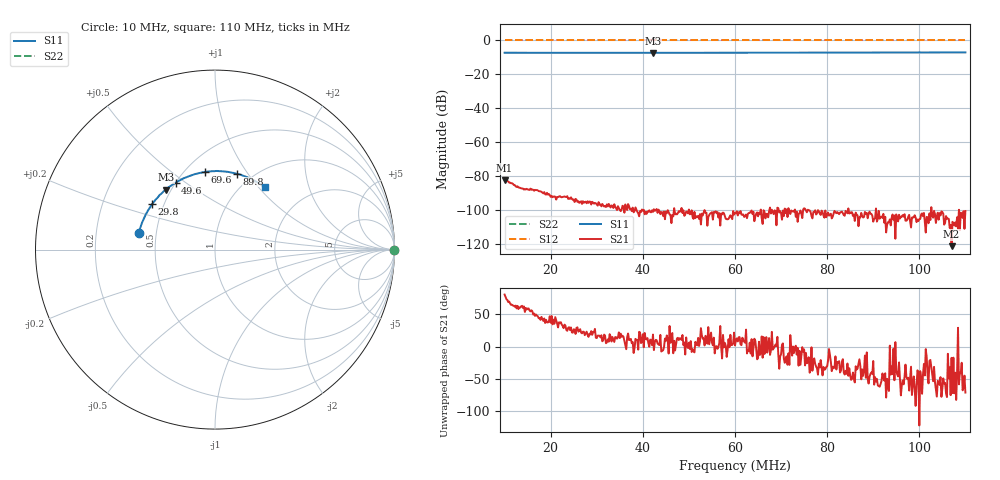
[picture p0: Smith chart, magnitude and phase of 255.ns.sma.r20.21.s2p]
! Anritsu VNA Master:  Model: MS2036C/10/77
! SN:  1601066
! /card0/usr/255.ns.sma.r20.21.s2p
! Existing Calibration Information:
! TYPE:  Current Settings,  Active Cal Settings
! TIME:  12/19/2017 07:11:33 PM,  12/19/2017 06:59:48 PM
! INTERNAL TEMP:  39.8 C,  39.3 C
! # POINTS:  501,  501
! START FREQ:  10.000 MHz,  10.000 MHz
! STOP FREQ:  110.000 MHz,  110.000 MHz
! SOURCE POWER:  High,  High
! IFBW:  100 Hz,  100 Hz
! AVG FACTOR:  1 ,  1
! REF PLANE 1:  0 mm,  0 mm
! REF PLANE 2:  0 mm,  0 mm
! CAL TYPE:  Full S11,  Full S11
! CAL METHOD:  SOLT,  SOLT
! CAL LINE TYPE:  Coax,  Coax
! DUT PORT 1:  N-Conn(F),  N-Conn(F)
! DUT PORT 2:  K-Conn(F),  K-Conn(F)
! CAL STATUS:  OK: Accuracy High,  --
# GHZ S DB R 50.0
! FREQ.GHZ  S11DB  S11A  S21DB  S21A  S12DB  S12A  S22DB  S22A
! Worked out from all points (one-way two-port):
!   501 points, 10 MHz to 110 MHz, reference 50 ohm
!   highest |S21| = -82.47 dB at 10 MHz (marker M1); lowest = -121.4 dB at 107 MHz (marker M2)
!   lowest |S11| = -7.3 dB at 42.2 MHz (marker M3), VSWR 2.52, Z = 23.5 + j19.3 ohm
!   |S11| at or under -10 dB: nowhere
!   |S22| runs from 0.0 to 0.0 dB; largest |S21 - S12| = 1
!   S11 on the Smith chart (normalised r, x): 10 MHz: 0.40, +0.09; 29.8 MHz: 0.43, +0.27; 49.6 MHz: 0.50, +0.46; 69.6 MHz: 0.62, +0.67; 89.8 MHz: 0.85, +0.89; 110 MHz: 1.25, +1.08
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0.01  -7.24 167.7  -82.47 80.3  0.00 0.0  0.00 0.0
0.0142  -7.25 162.6  -87.94 62.0  0.00 0.0  0.00 0.0
0.0208  -7.27 154.6  -92.04 35.2  0.00 0.0  0.00 0.0
0.0268  -7.30 147.4  -96.43 20.5  0.00 0.0  0.00 0.0
0.0298  -7.29 144.0  -96.05 13.7  0.00 0.0  0.00 0.0
0.0364  -7.27 135.9  -99.02 -4.0  0.00 0.0  0.00 0.0
0.0402  -7.27 131.5  -99.88 -1.0  0.00 0.0  0.00 0.0
0.0422  -7.31 129.2  -101.11 18.6  0.00 0.0  0.00 0.0
0.0434  -7.28 127.6  -99.80 3.2  0.00 0.0  0.00 0.0
0.0474  -7.26 122.9  -102.60 12.5  0.00 0.0  0.00 0.0
0.0496  -7.29 120.5  -100.99 1.4  0.00 0.0  0.00 0.0
0.0548  -7.24 114.3  -101.79 21.6  0.00 0.0  0.00 0.0
0.06  -7.25 108.3  -101.72 1.8  0.00 0.0  0.00 0.0
0.0628  -7.23 105.1  -102.29 -5.0  0.00 0.0  0.00 0.0
0.0696  -7.20 97.2  -101.49 -34.1  0.00 0.0  0.00 0.0
0.0768  -7.17 89.0  -104.95 -37.2  0.00 0.0  0.00 0.0
0.0844  -7.15 80.3  -101.97 -26.1  0.00 0.0  0.00 0.0
0.0898  -7.13 74.0  -103.37 -42.1  0.00 0.0  0.00 0.0
0.0934  -7.13 70.0  -107.27 -68.5  0.00 0.0  0.00 0.0
0.0998  -7.09 62.7  -106.57 -39.9  0.00 0.0  0.00 0.0
0.107  -7.07 54.5  -121.37 -17.3  0.00 0.0  0.00 0.0
0.11  -7.04 51.2  -100.63 -70.9  0.00 0.0  0.00 0.0
